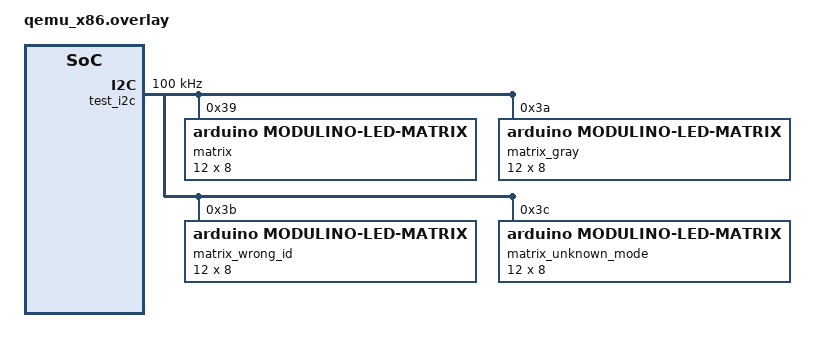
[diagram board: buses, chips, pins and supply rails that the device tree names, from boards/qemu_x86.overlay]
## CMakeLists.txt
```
# Copyright (c) 2026 FoBE Studio
# SPDX-License-Identifier: Apache-2.0

cmake_minimum_required(VERSION 3.20.0)
find_package(Zephyr REQUIRED HINTS $ENV{ZEPHYR_BASE})
project(modulino_led_matrix_test)
target_sources(app PRIVATE src/main.c)
```

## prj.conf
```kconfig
# SPDX-FileCopyrightText: FoBE Studio
# SPDX-License-Identifier: Apache-2.0

CONFIG_ZTEST=y
CONFIG_ASSERT=y
CONFIG_EMUL=y
CONFIG_I2C=y
CONFIG_I2C_EMUL=y
CONFIG_DISPLAY=y
CONFIG_MODULINO_LED_MATRIX=y
```

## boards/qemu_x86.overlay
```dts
/* Copyright (c) 2026 FoBE Studio
 * SPDX-License-Identifier: Apache-2.0
 */

#include <zephyr/dt-bindings/i2c/i2c.h>

/ {
	test_i2c: i2c@100 {
		compatible = "zephyr,i2c-emul-controller";
		clock-frequency = <I2C_BITRATE_STANDARD>;
		#address-cells = <1>;
		#size-cells = <0>;
		reg = <0x100 4>;
		status = "okay";

		matrix: display@39 {
			compatible = "arduino,modulino-led-matrix";
			reg = <0x39>;
			width = <12>;
			height = <8>;
		};

		matrix_gray: display@3a {
			compatible = "arduino,modulino-led-matrix";
			reg = <0x3a>;
			width = <12>;
			height = <8>;
		};

		matrix_wrong_id: display@3b {
			compatible = "arduino,modulino-led-matrix";
			reg = <0x3b>;
			width = <12>;
			height = <8>;
		};

		matrix_unknown_mode: display@3c {
			compatible = "arduino,modulino-led-matrix";
			reg = <0x3c>;
			width = <12>;
			height = <8>;
		};
	};
};
```

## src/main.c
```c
/*
 * Copyright (c) 2026 FoBE Studio
 * SPDX-License-Identifier: Apache-2.0
 */

#include <string.h>

#include <zephyr/drivers/display.h>
#include <zephyr/drivers/emul.h>
#include <zephyr/drivers/i2c_emul.h>
#include <zephyr/ztest.h>

#define MATRIX_NODE  DT_NODELABEL(matrix)
#define GRAY_NODE    DT_NODELABEL(matrix_gray)
#define WRONG_NODE   DT_NODELABEL(matrix_wrong_id)
#define UNKNOWN_NODE DT_NODELABEL(matrix_unknown_mode)

/* Model the externally observable protocol from upstream main.c/matrix.c.
 * Do not include driver-private definitions: wire expectations live here.
 */
struct matrix_emulator {
	uint8_t identity;
	bool gray;
	bool unknown_mode;
	uint8_t frame[48];
	size_t frame_len;
	size_t command_len;
	unsigned int reads;
	unsigned int commands;
	unsigned int frames;
	int64_t ready_at;
	bool fail_read;
	bool fail_command;
	bool fail_frame;
	bool ignore_command;
	bool fail_after_command;
};

static struct matrix_emulator mono = {.identity = 0x72};
static struct matrix_emulator gray = {.identity = 0x72, .gray = true};
static struct matrix_emulator wrong = {.identity = 0x7c};
static struct matrix_emulator unknown = {.identity = 0x72, .unknown_mode = true};
static const struct device *const matrix = DEVICE_DT_GET(MATRIX_NODE);

static int matrix_transfer(const struct emul *target, struct i2c_msg *msgs, int count, int addr)
{
	struct matrix_emulator *state = target->data;
	struct i2c_msg *msg = &msgs[0];

	if (count != 1 || (msg->flags & I2C_MSG_STOP) == 0 || addr != target->bus.i2c->addr ||
	    k_uptime_get() < state->ready_at) {
		return -EIO;
	}
	if (msg->flags & I2C_MSG_READ) {
		state->reads++;
		if (state->fail_read || msg->len != 4) {
			return -EIO;
		}
		msg->buf[0] = state->identity;
		memcpy(msg->buf + 1, state->unknown_mode ? "???" : state->gray ? "GS4" : "MON", 3);
		return 0;
	}

	if (msg->len != (state->gray ? 48 : 12)) {
		return -EMSGSIZE;
	}
	/* These must never be sent by a display driver. */
	zassert_not_equal(memcmp(msg->buf, "CF", 2), 0, "flash configuration command emitted");
	zassert_not_equal(memcmp(msg->buf, "DIE", 3), 0, "bootloader command emitted");

	if (memcmp(msg->buf, "MON", 3) == 0 || memcmp(msg->buf, "GS4", 3) == 0) {
		state->commands++;
		state->command_len = msg->len;
		for (size_t i = 3; i < msg->len; i++) {
			zassert_equal(msg->buf[i], 0, "mode command must be zero-padded");
		}
		if (state->fail_command) {
			return -EIO;
		}
		if (!state->ignore_command) {
			state->gray = msg->buf[0] == 'G';
		}
		state->fail_read = state->fail_after_command;
	} else {
		if (state->fail_frame) {
			return -EIO;
		}
		memcpy(state->frame, msg->buf, msg->len);
		state->frame_len = msg->len;
		state->frames++;
	}
	state->ready_at = k_uptime_get() + 1;
	return 0;
}

static int matrix_emul_init(const struct emul *target, const struct device *parent)
{
	ARG_UNUSED(target);
	ARG_UNUSED(parent);
	return 0;
}

static const struct i2c_emul_api matrix_emul_api = {.transfer = matrix_transfer};
EMUL_DT_DEFINE(MATRIX_NODE, matrix_emul_init, &mono, NULL, &matrix_emul_api, NULL);
EMUL_DT_DEFINE(GRAY_NODE, matrix_emul_init, &gray, NULL, &matrix_emul_api, NULL);
EMUL_DT_DEFINE(WRONG_NODE, matrix_emul_init, &wrong, NULL, &matrix_emul_api, NULL);
EMUL_DT_DEFINE(UNKNOWN_NODE, matrix_emul_init, &unknown, NULL, &matrix_emul_api, NULL);

static const struct display_buffer_descriptor full_gray = {
	.width = 12,
	.height = 8,
	.pitch = 12,
	.buf_size = 48,
};

static const struct display_buffer_descriptor full = {
	.width = 12,
	.height = 8,
	.pitch = 12,
	.buf_size = 12,
};

static void *matrix_setup(void)
{
	static const uint8_t black[12];

	zassert_true(device_is_ready(matrix));
	zassert_true(device_is_ready(DEVICE_DT_GET(GRAY_NODE)));
	zassert_false(device_is_ready(DEVICE_DT_GET(WRONG_NODE)));
	zassert_false(device_is_ready(DEVICE_DT_GET(UNKNOWN_NODE)));
	zassert_equal(wrong.frames + wrong.commands, 0);
	zassert_equal(unknown.frames + unknown.commands, 0);
	zassert_equal(mono.commands, 0);
	zassert_equal(mono.frame_len, 12);
	zassert_mem_equal(mono.frame, black, 12);
	zassert_equal(gray.commands, 1);
	zassert_equal(gray.command_len, 48, "warm-start GS4 must use 48-byte MON command");
	zassert_false(gray.gray);
	zassert_equal(gray.frame_len, 12);
	return NULL;
}

static void matrix_before(void *fixture)
{
	static const uint8_t black[48];

	ARG_UNUSED(fixture);
	mono.fail_read = false;
	mono.fail_command = false;
	mono.fail_frame = false;
	mono.ignore_command = false;
	mono.fail_after_command = false;
	mono.unknown_mode = false;
	mono.identity = 0x72;
	zassert_ok(display_blanking_on(matrix));
	zassert_ok(display_write(matrix, 0, 0, &full_gray, black));
	zassert_ok(display_set_pixel_format(matrix, PIXEL_FORMAT_MONO01));
	zassert_ok(display_blanking_off(matrix));
	mono.reads = 0;
	mono.commands = 0;
	mono.frames = 0;
}

ZTEST(matrix, test_capabilities)
{
	struct display_capabilities caps;

	display_get_capabilities(matrix, &caps);
	zassert_equal(caps.x_resolution, 12);
	zassert_equal(caps.y_resolution, 8);
	zassert_equal(caps.supported_pixel_formats, PIXEL_FORMAT_MONO01 | PIXEL_FORMAT_L_4);
	zassert_equal(caps.current_pixel_format, PIXEL_FORMAT_MONO01);
	zassert_equal(caps.screen_info, SCREEN_INFO_MONO_VTILED);
	zassert_equal(caps.current_orientation, DISPLAY_ORIENTATION_NORMAL);
	zassert_equal(display_set_pixel_format(matrix, PIXEL_FORMAT_RGB_888), -ENOTSUP);
	zassert_equal(mono.reads + mono.frames + mono.commands, 0);
}

ZTEST(matrix, test_mono_corners_and_partial_write)
{
	const uint8_t corners[12] = {0x81, 0, 0, 0, 0, 0, 0, 0, 0, 0, 0, 0x81};
	const uint8_t patch[] = {0x05, 0x02, 0xff, 0xff};
	const struct display_buffer_descriptor desc = {
		.width = 2,
		.height = 3,
		.pitch = 4,
		.buf_size = sizeof(patch),
	};
	uint8_t expected[12];

	zassert_ok(display_write(matrix, 0, 0, &full, corners));
	zassert_equal(mono.frame_len, 12);
	zassert_mem_equal(mono.frame, corners, 12);
	zassert_ok(display_write(matrix, 4, 2, &desc, patch));
	memcpy(expected, corners, 12);
	expected[4] = 0x14;
	expected[5] = 0x08;
	zassert_mem_equal(mono.frame, expected, 12);
	zassert_equal(mono.commands, 0);
}

ZTEST(matrix, test_grayscale_packing_and_mode_switch)
{
	uint8_t ramp[48];
	struct display_capabilities caps;

	for (size_t i = 0; i < sizeof(ramp); i++) {
		ramp[i] = ((i * 2 % 16) << 4) | ((i * 2 + 1) % 16);
	}
	zassert_ok(display_set_pixel_format(matrix, PIXEL_FORMAT_L_4));
	zassert_true(mono.gray);
	zassert_equal(mono.command_len, 12);
	zassert_ok(display_write(matrix, 0, 0, &full_gray, ramp));
	zassert_equal(mono.frame_len, 48);
	zassert_mem_equal(mono.frame, ramp, 48);
	display_get_capabilities(matrix, &caps);
	zassert_equal(caps.current_pixel_format, PIXEL_FORMAT_L_4);
	zassert_equal(caps.screen_info, 0);
	zassert_ok(display_set_pixel_format(matrix, PIXEL_FORMAT_MONO01));
	zassert_false(mono.gray);
	zassert_equal(mono.command_len, 48);
	/* Nonzero grayscale pixels stay lit when displayed as monochrome. */
	zassert_equal(mono.frame[0], 0xee);
	zassert_equal(mono.frame[1], 0xff);
}

ZTEST(matrix, test_gray_odd_pitch_and_partial_nibbles)
{
	const uint8_t patch[] = {0x12, 0x3f, 0xff, 0x45, 0x6f};
	const struct display_buffer_descriptor desc = {
		.width = 3,
		.height = 2,
		.pitch = 5,
		.buf_size = sizeof(patch),
	};
	uint8_t expected[48] = {0};

	zassert_ok(display_set_pixel_format(matrix, PIXEL_FORMAT_L_4));
	zassert_ok(display_write(matrix, 3, 2, &desc, patch));
	expected[13] = 0x01;
	expected[14] = 0x23;
	expected[19] = 0x04;
	expected[20] = 0x56;
	zassert_mem_equal(mono.frame, expected, 48);
}

ZTEST(matrix, test_blanking_caches_and_restores)
{
	const uint8_t image[12] = {1, 2, 4, 8, 16, 32, 64, 128, 0, 0, 0, 0};
	const uint8_t black[12] = {0};
	unsigned int frames;
	unsigned int reads;

	zassert_ok(display_blanking_on(matrix));
	zassert_mem_equal(mono.frame, black, 12);
	frames = mono.frames;
	reads = mono.reads;
	zassert_ok(display_write(matrix, 0, 0, &full, image));
	zassert_equal(mono.frames, frames);
	zassert_equal(mono.reads, reads);
	zassert_ok(display_blanking_off(matrix));
	zassert_mem_equal(mono.frame, image, 12);
}

ZTEST(matrix, test_invalid_descriptors_do_not_touch_bus)
{
	const uint8_t buf[48] = {0};
	struct display_buffer_descriptor desc = full;

	zassert_equal(display_write(matrix, 0, 0, NULL, buf), -EINVAL);
	zassert_equal(display_write(matrix, 0, 0, &desc, NULL), -EINVAL);
	zassert_equal(display_write(matrix, 12, 0, &desc, buf), -EINVAL);
	zassert_equal(display_write(matrix, 0, 8, &desc, buf), -EINVAL);
	zassert_equal(display_write(matrix, UINT16_MAX, UINT16_MAX, &desc, buf), -EINVAL);
	zassert_equal(display_write(matrix, 1, 0, &desc, buf), -EINVAL);
	zassert_equal(display_write(matrix, 0, 1, &desc, buf), -EINVAL);
	desc.width = 0;
	zassert_equal(display_write(matrix, 0, 0, &desc, buf), -EINVAL);
	desc = full;
	desc.height = 0;
	zassert_equal(display_write(matrix, 0, 0, &desc, buf), -EINVAL);
	desc = full;
	desc.pitch = 11;
	zassert_equal(display_write(matrix, 0, 0, &desc, buf), -EINVAL);
	desc = full;
	desc.buf_size = 11;
	zassert_equal(display_write(matrix, 0, 0, &desc, buf), -EINVAL);
	zassert_equal(mono.reads + mono.frames + mono.commands, 0);

	zassert_ok(display_set_pixel_format(matrix, PIXEL_FORMAT_L_4));
	unsigned int reads = mono.reads;

	desc.buf_size = 47;
	zassert_equal(display_write(matrix, 0, 0, &desc, buf), -EINVAL);
	zassert_equal(mono.reads, reads);
}

ZTEST(matrix, test_reserved_prefixes_rejected_in_both_formats)
{
	const char *const prefixes[] = {"CF", "DIE", "MON", "GS4"};
	const enum display_pixel_format formats[] = {PIXEL_FORMAT_MONO01, PIXEL_FORMAT_L_4};
	uint8_t buf[48];

	for (size_t f = 0; f < ARRAY_SIZE(formats); f++) {
		zassert_ok(display_set_pixel_format(matrix, formats[f]));
		unsigned int reads = mono.reads;

		for (size_t i = 0; i < ARRAY_SIZE(prefixes); i++) {
			memset(buf, 0, sizeof(buf));
			memcpy(buf, prefixes[i], strlen(prefixes[i]));
			zassert_equal(display_write(matrix, 0, 0, &full_gray, buf), -EINVAL);
		}
		zassert_equal(mono.reads, reads);
	}
}

ZTEST(matrix, test_partial_write_cannot_assemble_reserved_prefix)
{
	uint8_t buf[12] = {'C', 0};
	const uint8_t patch = 'F';
	const struct display_buffer_descriptor desc = {
		.width = 1,
		.height = 8,
		.pitch = 1,
		.buf_size = 1,
	};

	zassert_ok(display_write(matrix, 0, 0, &full, buf));
	unsigned int reads = mono.reads;

	zassert_equal(display_write(matrix, 1, 0, &desc, &patch), -EINVAL);
	zassert_equal(mono.reads, reads);
	zassert_ok(display_blanking_off(matrix));
	zassert_mem_equal(mono.frame, buf, 12);
}

ZTEST(matrix, test_failed_frame_does_not_commit_pixels)
{
	uint8_t buf[12] = {1};
	const uint8_t patch = 4;
	const struct display_buffer_descriptor desc = {
		.width = 1,
		.height = 8,
		.pitch = 1,
		.buf_size = 1,
	};

	zassert_ok(display_write(matrix, 0, 0, &full, buf));
	buf[0] = 2;
	mono.fail_frame = true;
	zassert_equal(display_write(matrix, 0, 0, &full, buf), -EIO);
	mono.fail_frame = false;
	zassert_ok(display_write(matrix, 1, 0, &desc, &patch));
	buf[0] = 1;
	buf[1] = 4;
	zassert_mem_equal(mono.frame, buf, 12);
}

ZTEST(matrix, test_read_errors_and_identity_are_propagated)
{
	const uint8_t black[12] = {0};

	mono.fail_read = true;
	zassert_equal(display_write(matrix, 0, 0, &full, black), -EIO);
	mono.fail_read = false;
	mono.identity = 0x7c;
	zassert_equal(display_write(matrix, 0, 0, &full, black), -ENODEV);
	mono.identity = 0x72;
	mono.unknown_mode = true;
	zassert_equal(display_write(matrix, 0, 0, &full, black), -ENOTSUP);
	zassert_equal(mono.frames + mono.commands, 0);
}

ZTEST(matrix, test_failed_mode_change_recovers_from_device_state)
{
	struct display_capabilities caps;

	mono.fail_after_command = true;
	zassert_equal(display_set_pixel_format(matrix, PIXEL_FORMAT_L_4), -EIO);
	zassert_true(mono.gray);
	display_get_capabilities(matrix, &caps);
	zassert_equal(caps.current_pixel_format, PIXEL_FORMAT_MONO01);
	mono.fail_after_command = false;
	mono.fail_read = false;
	zassert_ok(display_blanking_off(matrix));
	zassert_false(mono.gray);
	zassert_equal(mono.command_len, 48);
}

ZTEST(matrix, test_mode_command_error_and_unconfirmed_switch)
{
	struct display_capabilities caps;

	mono.fail_command = true;
	zassert_equal(display_set_pixel_format(matrix, PIXEL_FORMAT_L_4), -EIO);
	mono.fail_command = false;
	mono.ignore_command = true;
	zassert_equal(display_set_pixel_format(matrix, PIXEL_FORMAT_L_4), -EIO);
	display_get_capabilities(matrix, &caps);
	zassert_equal(caps.current_pixel_format, PIXEL_FORMAT_MONO01);
	zassert_equal(mono.frames, 0);
}

ZTEST(matrix, test_device_reset_mode_is_rediscovered)
{
	const uint8_t black[48] = {0};

	zassert_ok(display_set_pixel_format(matrix, PIXEL_FORMAT_L_4));
	mono.gray = false; /* Peripheral rebooted independently of the host. */
	zassert_ok(display_write(matrix, 0, 0, &full_gray, black));
	zassert_true(mono.gray);
	zassert_equal(mono.command_len, 12);
	zassert_equal(mono.frame_len, 48);
}

ZTEST(matrix, test_failed_blanking_preserves_visible_write_behavior)
{
	const uint8_t image[12] = {1};

	mono.fail_frame = true;
	zassert_equal(display_blanking_on(matrix), -EIO);
	mono.fail_frame = false;
	zassert_ok(display_write(matrix, 0, 0, &full, image));
	zassert_mem_equal(mono.frame, image, 12);
	zassert_equal(mono.frames, 1);
}

ZTEST_SUITE(matrix, NULL, matrix_setup, matrix_before, NULL, NULL);
```
